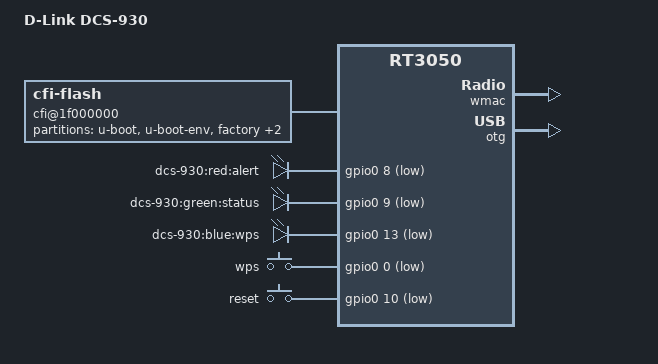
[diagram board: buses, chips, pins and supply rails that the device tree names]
/dts-v1/;

#include "rt3050.dtsi"

/ {
	compatible = "DCS-930", "ralink,rt3050-soc";
	model = "D-Link DCS-930";

	cfi@1f000000 {
		compatible = "cfi-flash";
		reg = <0x1f000000 0x400000>;
		bank-width = <2>;
		device-width = <2>;
		#address-cells = <1>;
		#size-cells = <1>;

		partition@0 {
			label = "u-boot";
			reg = <0x0 0x30000>;
			read-only;
		};

		partition@30000 {
			label = "u-boot-env";
			reg = <0x30000 0x10000>;
			read-only;
		};

		factory: partition@40000 {
			label = "factory";
			reg = <0x40000 0x10000>;
			read-only;
		};

		partition@50000 {
			label = "kernel";
			reg = <0x50000 0x150000>;
		};

		partition@150000 {
			label = "rootfs";
			reg = <0x150000 0x2b0000>;
		};

		partition {
			label = "firmware";
			reg = <0x50000 0x3b0000>;
		};
	};

	gpio-leds {
		compatible = "gpio-leds";

		wifi {
			label = "dcs-930:red:alert";
			gpios = <&gpio0 8 1>;
		};

		power {
			label = "dcs-930:green:status";
			gpios = <&gpio0 9 1>;
		};

		wps {
			label = "dcs-930:blue:wps";
			gpios = <&gpio0 13 1>;
		};
	};

	gpio-keys-polled {
		compatible = "gpio-keys-polled";
		#address-cells = <1>;
		#size-cells = <0>;
		poll-interval = <20>;

		wps {
			label = "wps";
			gpios = <&gpio0 0 1>;
			linux,code = <0x101>;
		};

		reset {
			label = "reset";
			gpios = <&gpio0 10 1>;
			linux,code = <0x198>;
		};
	};
};

&pinctrl {
	state_default: pinctrl0 {
		gpio {
			ralink,group = "i2c", "spi", "jtag", "mdio", "rgmii", "uartf";
			ralink,function = "gpio";
		};
	};
};

&ethernet {
	mtd-mac-address = <&factory 0x4>;
};

&esw {
	mediatek,portmap = <0x2f>;
};

&wmac {
	ralink,mtd-eeprom = <&factory 0>;
};

&otg {
	status = "okay";
};
